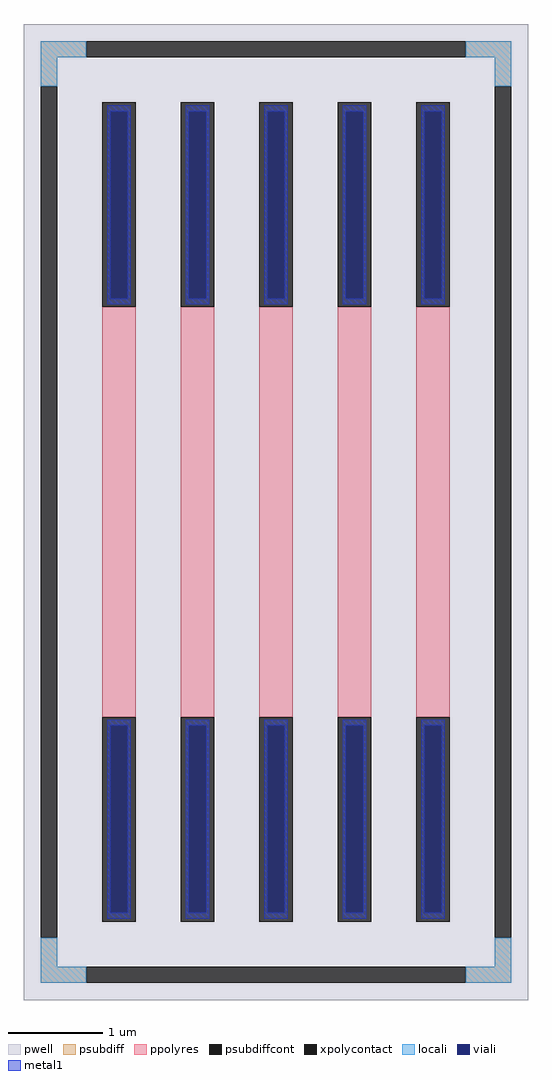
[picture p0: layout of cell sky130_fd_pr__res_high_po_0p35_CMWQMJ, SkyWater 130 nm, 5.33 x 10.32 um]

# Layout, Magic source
magic
tech sky130B
magscale 1 2
<< pwell >>
rect -533 -1032 533 1032
<< psubdiff >>
rect -497 962 -401 996
rect 401 962 497 996
rect -497 900 -463 962
rect 463 900 497 962
rect -497 -962 -463 -900
rect 463 -962 497 -900
rect -497 -996 -401 -962
rect 401 -996 497 -962
<< psubdiffcont >>
rect -401 962 401 996
rect -497 -900 -463 900
rect 463 -900 497 900
rect -401 -996 401 -962
<< xpolycontact >>
rect -367 434 -297 866
rect -367 -866 -297 -434
rect -201 434 -131 866
rect -201 -866 -131 -434
rect -35 434 35 866
rect -35 -866 35 -434
rect 131 434 201 866
rect 131 -866 201 -434
rect 297 434 367 866
rect 297 -866 367 -434
<< ppolyres >>
rect -367 -434 -297 434
rect -201 -434 -131 434
rect -35 -434 35 434
rect 131 -434 201 434
rect 297 -434 367 434
<< locali >>
rect -497 962 -401 996
rect 401 962 497 996
rect -497 900 -463 962
rect 463 900 497 962
rect -497 -962 -463 -900
rect 463 -962 497 -900
rect -497 -996 -401 -962
rect 401 -996 497 -962
<< viali >>
rect -351 451 -313 848
rect -185 451 -147 848
rect -19 451 19 848
rect 147 451 185 848
rect 313 451 351 848
rect -351 -848 -313 -451
rect -185 -848 -147 -451
rect -19 -848 19 -451
rect 147 -848 185 -451
rect 313 -848 351 -451
<< metal1 >>
rect -357 848 -307 860
rect -357 451 -351 848
rect -313 451 -307 848
rect -357 439 -307 451
rect -191 848 -141 860
rect -191 451 -185 848
rect -147 451 -141 848
rect -191 439 -141 451
rect -25 848 25 860
rect -25 451 -19 848
rect 19 451 25 848
rect -25 439 25 451
rect 141 848 191 860
rect 141 451 147 848
rect 185 451 191 848
rect 141 439 191 451
rect 307 848 357 860
rect 307 451 313 848
rect 351 451 357 848
rect 307 439 357 451
rect -357 -451 -307 -439
rect -357 -848 -351 -451
rect -313 -848 -307 -451
rect -357 -860 -307 -848
rect -191 -451 -141 -439
rect -191 -848 -185 -451
rect -147 -848 -141 -451
rect -191 -860 -141 -848
rect -25 -451 25 -439
rect -25 -848 -19 -451
rect 19 -848 25 -451
rect -25 -860 25 -848
rect 141 -451 191 -439
rect 141 -848 147 -451
rect 185 -848 191 -451
rect 141 -860 191 -848
rect 307 -451 357 -439
rect 307 -848 313 -451
rect 351 -848 357 -451
rect 307 -860 357 -848
<< properties >>
string FIXED_BBOX -480 -979 480 979
string gencell sky130_fd_pr__res_high_po_0p35
string library sky130
string parameters w 0.350 l 4.5 m 1 nx 5 wmin 0.350 lmin 0.50 rho 319.8 val 5.224k dummy 0 dw 0.0 term 194.82 sterm 0.0 caplen 0 guard 1 glc 1 grc 1 gtc 1 gbc 1 compatible {sky130_fd_pr__res_high_po_0p35  sky130_fd_pr__res_high_po_0p69 sky130_fd_pr__res_high_po_1p41  sky130_fd_pr__res_high_po_2p85 sky130_fd_pr__res_high_po_5p73} snake 0 full_metal 1 wmax 0.350 vias 1 n_guard 0 hv_guard 0 viagb 0 viagt 0 viagl 0 viagr 0
<< end >>
